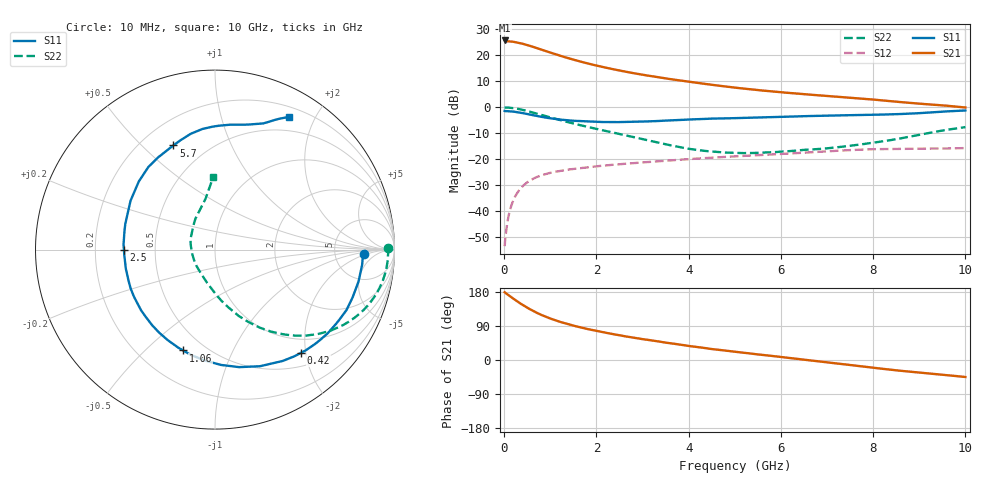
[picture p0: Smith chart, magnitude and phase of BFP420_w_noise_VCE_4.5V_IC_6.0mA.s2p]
! Infineon Technologies  Discrete & RF Semiconductors
! BFP420
! VCE =  4.5 V,  IC =  6.0 mA
! Common Emitter S-Parameters:  Jan 2016
# GHz  S  MA  R  50
!  f  S11  S21  S12  S22
! GHz  MAG  ANG  MAG  ANG  MAG  ANG  MAG  ANG
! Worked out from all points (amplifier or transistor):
!   233 points, 10 MHz to 10 GHz, reference 50 ohm
!   highest |S21| = 25.5 dB at 10 MHz (marker M1)
!   |S21| within 3 dB of that: start of sweep to 720.5 MHz
!   unconditionally stable (mu >= 1): start of sweep to 14.08 MHz; 2.839 GHz to end of sweep
!   at 200 MHz: K = 0.20, MSG = 30.4 dB, |S12| = -35.9 dB
!   at 1.74 GHz: K = 0.66, MSG = 20.2 dB, |S12| = -23.4 dB
!   at 10 GHz: K = 1.11, MAG = 5.7 dB, |S12| = -15.9 dB
!   lowest NFmin = 0.70 dB at 900 MHz
!   S11 on the Smith chart (normalised r, x): 10 MHz: 10, -2; 420 MHz: 0.73, -1.92; 1.06 GHz: 0.38, -0.66; 2.5 GHz: 0.33, -0.00; 5.7 GHz: 0.33, +0.63; 10 GHz: 0.32, +1.66
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0.01  0.8294 -1.6  18.73 178.8  0.0021 13.6  0.9616 0.6
0.02  0.8249 -2.4  18.2 177.9  0.0027 41.7  0.9648 -1.2
0.105  0.8182 -13.1  18.09 170.2  0.0087 70.3  0.9598 -7.0
0.24  0.7954 -29.4  17.38 158.3  0.019 69.7  0.9296 -15.8
0.34  0.7712 -41.2  16.7 150.1  0.0258 65.8  0.8952 -21.9
0.42  0.749 -50.1  16.02 143.9  0.0309 62.5  0.8629 -26.3
0.5  0.7261 -58.7  15.3 138.0  0.0353 59.3  0.8284 -30.5
0.58  0.7006 -66.8  14.54 132.5  0.0392 56.3  0.7928 -34.3
0.7  0.6685 -78.4  13.46 124.9  0.0444 52.2  0.7403 -39.5
0.9  0.62 -95.5  11.73 114.1  0.051 46.8  0.6591 -46.7
1.06  0.5894 -107.5  10.54 107.0  0.0552 43.5  0.6016 -51.5
1.32  0.5553 -125.0  8.928 96.7  0.0608 39.4  0.5221 -58.3
1.68  0.5268 -144.8  7.271 85.3  0.0669 35.5  0.4358 -66.0
2.02  0.5118 -160.3  6.118 76.3  0.072 32.9  0.3726 -72.1
2.5  0.5073 -179.6  4.966 65.3  0.0786 29.7  0.2989 -81.1
3.4  0.5363 152.7  3.609 47.9  0.0904 24.9  0.1987 -100.5
4.1  0.5726 136.3  2.941 35.6  0.0999 21.2  0.1512 -122.5
5.1  0.6057 120.2  2.276 20.4  0.1126 15.5  0.1292 -158.6
5.7  0.6249 111.8  2.008 12.2  0.1199 12.2  0.1317 -179.5
6.8  0.6685 98.2  1.662 -3.1  0.1359 5.2  0.1539 149.2
8.4  0.714 77.0  1.271 -25.9  0.1543 -9.3  0.2302 112.5
10  0.8471 60.8  0.966 -44.9  0.1606 -19.7  0.4065 91.3
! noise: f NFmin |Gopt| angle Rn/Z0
0.9  0.7  0.16  29  0.14
1.8  1.08  0.06  113  0.12
2.4  1.17  0.11  132  0.13
3  1.26  0.17  176  0.11
4  1.43  0.31  -139  0.13
5  1.82  0.38  -115  0.24
6  2.3  0.43  -99  0.37
